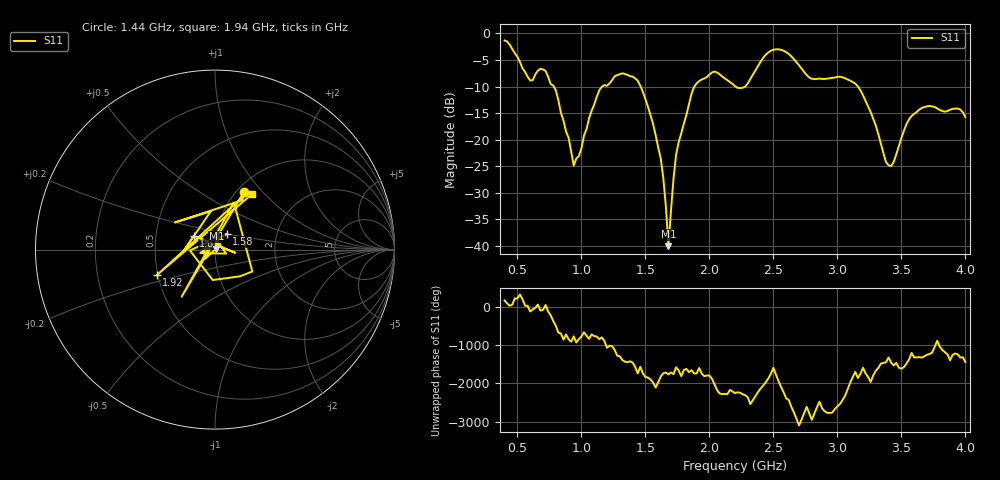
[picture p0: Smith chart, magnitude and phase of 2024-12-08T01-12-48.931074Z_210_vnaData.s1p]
!Created with skrf (http://scikit-rf.org).
# Hz S RI R 50.0
!freq ReS11 ImS11
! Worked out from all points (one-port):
!   181 points, 400 MHz to 4 GHz, reference 50 ohm
!   lowest |S11| = -40.1 dB at 1.68 GHz (marker M1), VSWR 1.02, Z = 50.8 + j0.61 ohm
!   |S11| at or under -10 dB: 784.2 MHz to 1.161 GHz (377.2 MHz wide, 38.8 % of centre); 1.463 GHz to 1.883 GHz (419.9 MHz wide, 25.1 % of centre); 3.161 GHz to end of sweep (the widest 3 of 4)
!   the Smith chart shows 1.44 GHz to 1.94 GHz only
!   S11 on the Smith chart (normalised r, x): 1.44 GHz: 1.08, +0.79; 1.58 GHz: 1.12, +0.20; 1.8 GHz: 0.78, +0.12; 1.92 GHz: 0.49, -0.16; 1.94 GHz: 1.19, +0.84
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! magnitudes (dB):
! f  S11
! 400 MHz  -1.3
! 600 MHz  -8.9
! 720 MHz  -7.1
! 860 MHz  -16.4
! 940 MHz  -24.9
! 1.14 GHz  -10.7
! 1.3 GHz  -7.7
! 1.44 GHz  -8.9
! 1.58 GHz  -19.2
! 1.64 GHz  -27.3
! 1.68 GHz  -40.1
! 1.72 GHz  -27.3
! 1.76 GHz  -20.5
! 1.8 GHz  -17.0
! 1.92 GHz  -9.0
! 1.94 GHz  -8.7
! 2.04 GHz  -7.2
! 2.2 GHz  -9.9
! 2.28 GHz  -10.0
! 2.48 GHz  -3.3
! 2.66 GHz  -4.8
! 2.8 GHz  -8.5
! 3.1 GHz  -8.9
! 3.26 GHz  -14.8
! 3.4 GHz  -24.8
! 3.56 GHz  -16.2
! 3.72 GHz  -13.7
! 4 GHz  -15.8
